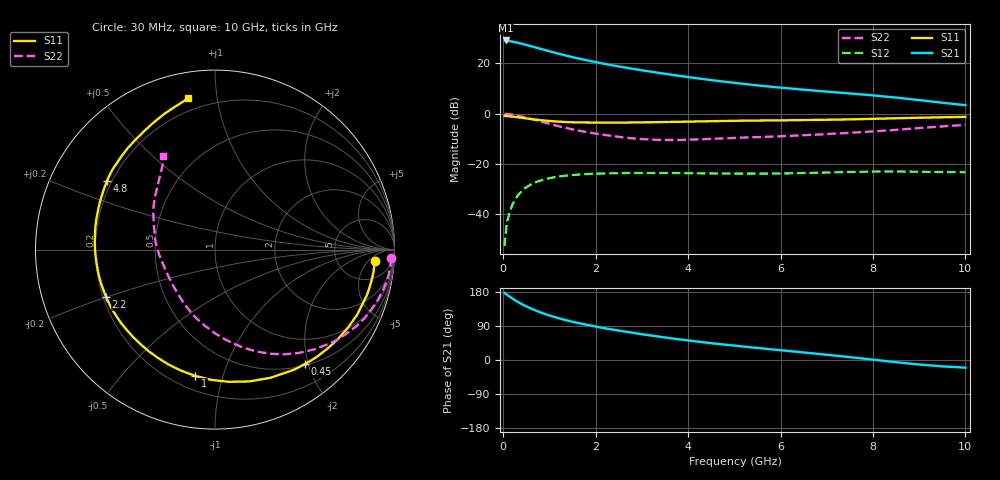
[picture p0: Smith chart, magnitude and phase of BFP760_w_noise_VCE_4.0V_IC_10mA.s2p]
! Infineon Technologies  Discrete & RF Semiconductors
! BFP760
! VCE =  4.0 V,  IC =  10 mA
! Common Emitter S-Parameters:  Nov 2012
# GHz  S  MA  R  50
!  f  S11  S21  S12  S22
! GHz  MAG  ANG  MAG  ANG  MAG  ANG  MAG  ANG
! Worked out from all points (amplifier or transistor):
!   99 points, 30 MHz to 10 GHz, reference 50 ohm
!   highest |S21| = 29.1 dB at 50 MHz (marker M1)
!   |S21| within 3 dB of that: start of sweep to 742.4 MHz
!   unconditionally stable (mu >= 1): 5.455 GHz to end of sweep
!   at 350 MHz: K = 0.15, MSG = 29.9 dB, |S12| = -31.8 dB
!   at 3.5 GHz: K = 0.68, MSG = 19.7 dB, |S12| = -23.6 dB
!   at 10 GHz: K = 1.16, MAG = 10.9 dB, |S12| = -23.3 dB
!   lowest NFmin = 0.48 dB at 900 MHz
!   S11 on the Smith chart (normalised r, x): 30 MHz: 13, -8; 450 MHz: 0.52, -1.94; 1 GHz: 0.29, -0.81; 2.2 GHz: 0.21, -0.20; 4.8 GHz: 0.18, +0.28; 10 GHz: 0.13, +0.83
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0.03  0.896 -3.9  28.16 176.8  0.0023 66.7  0.9845 -2.8
0.05  0.8913 -6.3  28.48 174.7  0.0034 80.1  0.9813 -4.3
0.15  0.8795 -18.6  27.55 166.1  0.0116 77.2  0.965 -13.0
0.25  0.8593 -30.3  26.42 158.2  0.0186 71.1  0.9326 -21.1
0.35  0.835 -41.4  25.09 150.9  0.0257 65.8  0.8952 -28.6
0.45  0.8113 -51.9  23.81 144.4  0.0317 60.7  0.8524 -35.5
0.6  0.7782 -66.6  21.9 135.8  0.0388 53.8  0.7844 -45.1
0.7  0.759 -75.4  20.65 130.6  0.043 49.9  0.7424 -50.8
0.8  0.7406 -84.1  19.52 125.8  0.0463 46.3  0.7011 -56.3
1  0.7124 -98.9  17.34 117.4  0.0519 39.9  0.6249 -66.2
1.3  0.6822 -117.6  14.67 106.9  0.0573 32.4  0.5321 -79.0
1.5  0.6708 -128.1  13.24 100.9  0.0598 28.7  0.4846 -86.6
1.7  0.6649 -137.5  12.06 95.6  0.0617 25.5  0.4451 -93.7
2.2  0.6616 -156.5  9.707 83.7  0.0644 19.0  0.3751 -110.8
2.8  0.6649 -174.4  7.772 71.8  0.0656 13.9  0.3214 -130.0
3.4  0.676 171.1  6.381 61.1  0.0658 10.2  0.2997 -148.9
4  0.6908 159.2  5.324 51.6  0.0651 7.7  0.3015 -165.6
4.8  0.7124 147.7  4.287 40.5  0.0641 6.3  0.3218 179.0
5.1  0.7197 144.4  3.987 36.7  0.0639 6.1  0.3303 174.5
6.7  0.7472 130.0  2.881 17.5  0.0661 6.5  0.3781 154.8
8.5  0.8069 110.6  2.078 -5.9  0.0703 1.9  0.4745 132.7
10  0.8586 100.0  1.469 -20.2  0.0682 0.7  0.5948 119.3
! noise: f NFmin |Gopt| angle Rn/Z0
0.9  0.48  0.22  28  0.1
1.8  0.54  0.16  58  0.09
2.4  0.59  0.14  85  0.08
3.5  0.73  0.12  129  0.08
5.5  0.97  0.28  -140  0.08
8  1.38  0.41  -95  0.25
